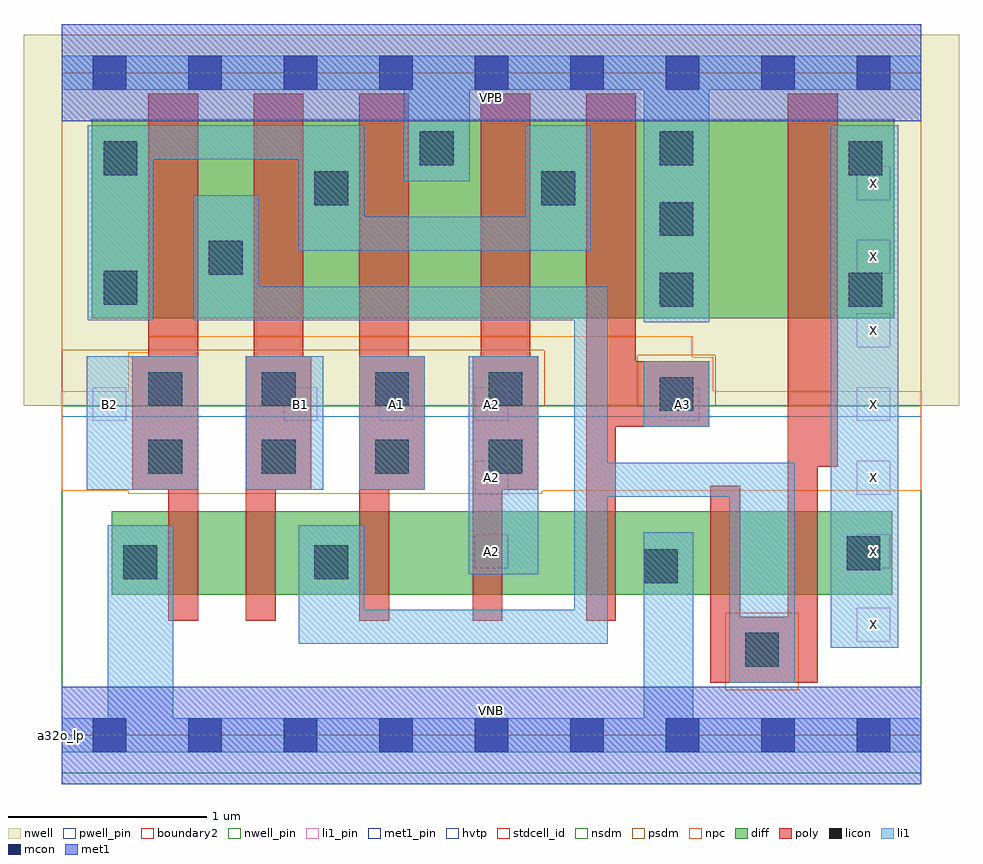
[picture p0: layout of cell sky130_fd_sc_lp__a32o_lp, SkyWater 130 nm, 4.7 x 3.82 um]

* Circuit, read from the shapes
.subckt sky130_fd_sc_lp__a32o_lp A1 A2 A3 B1 B2 VGND VNB VPB VPWR X
XM1 n1 B2 VGND VNB sky130_fd_pr__nfet_01v8 w=0.42 l=0.15
XM2 n2 B1 n1 VNB sky130_fd_pr__nfet_01v8 w=0.42 l=0.15
XM3 n3 A1 n2 VNB sky130_fd_pr__nfet_01v8 w=0.42 l=0.15
XM4 n4 A2 n3 VNB sky130_fd_pr__nfet_01v8 w=0.42 l=0.15
XM5 VGND A3 n4 VNB sky130_fd_pr__nfet_01v8 w=0.42 l=0.15
XM6 n5 n2 VGND VNB sky130_fd_pr__nfet_01v8 w=0.42 l=0.15
XM7 X n2 n5 VNB sky130_fd_pr__nfet_01v8 w=0.42 l=0.15
XM8 n2 B2 n6 VPB sky130_fd_pr__pfet_01v8_hvt w=1 l=0.25
XM9 n6 B1 n2 VPB sky130_fd_pr__pfet_01v8_hvt w=1 l=0.25
XM10 VPWR A1 n6 VPB sky130_fd_pr__pfet_01v8_hvt w=1 l=0.25
XM11 n6 A2 VPWR VPB sky130_fd_pr__pfet_01v8_hvt w=1 l=0.25
XM12 VPWR A3 n6 VPB sky130_fd_pr__pfet_01v8_hvt w=1 l=0.25
XM13 X n2 VPWR VPB sky130_fd_pr__pfet_01v8_hvt w=1 l=0.25
.ends

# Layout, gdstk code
import gdstk
lib = gdstk.Library(unit=1e-6, precision=1e-09)
def R(c, l, rs):  # rectangles x0, y0, x1, y1
    for r in rs: c.add(gdstk.rectangle(r[:2], r[2:], *l))
def A(c, l, x, y, w, h, nx, ny, dx, dy):  # array of equal rectangles
    R(c, l, [(x+i*dx, y+j*dy, x+i*dx+w, y+j*dy+h) for i in range(nx) for j in range(ny)])
def P(c, l, *ps):  # polygons
    for p in ps: c.add(gdstk.Polygon(p, *l))
nwell_pin = (64, 16)
nwell = (64, 20)
diff = (65, 20)
poly = (66, 20)
licon = (66, 44)
li1_pin = (67, 16)
li1 = (67, 20)
mcon = (67, 44)
met1_pin = (68, 16)
met1 = (68, 20)
hvtp = (78, 44)
stdcell_id = (81, 4)
nsdm = (93, 44)
psdm = (94, 20)
npc = (95, 20)
pwell_pin = (122, 16)
boundary2 = (236, 0)

sky130_fd_sc_lp__a32o_lp = lib.new_cell('sky130_fd_sc_lp__a32o_lp')
R(sky130_fd_sc_lp__a32o_lp, nwell_pin, [(0,3.085,4.32,3.33)])
R(sky130_fd_sc_lp__a32o_lp, nwell, [(-0.19,1.655,4.51,3.52)])
R(sky130_fd_sc_lp__a32o_lp, diff, [(0.25,0.705,4.175,1.125), (0.15,2.095,4.185,3.095)])
P(sky130_fd_sc_lp__a32o_lp, poly, [(0.685,3.225),(0.435,3.225),(0.435,1.905),(0.355,1.905),(0.355,1.235),(0.535,1.235),(0.535,0.575),(0.685,0.575)],
  [(1.255,1.905),(1.215,1.905),(1.215,3.225),(0.965,3.225),(0.965,1.905),(0.925,1.905),(0.925,0.575),(1.075,0.575),(1.075,1.235),(1.255,1.235)],
  [(1.825,1.905),(1.745,1.905),(1.745,3.225),(1.495,3.225),(1.495,0.575),(1.645,0.575),(1.645,1.235),(1.825,1.235)],
  [(2.395,1.905),(2.355,1.905),(2.355,3.225),(2.105,3.225),(2.105,1.905),(2.065,1.905),(2.065,0.575),(2.215,0.575),(2.215,1.235),(2.395,1.235)],
  [(3.255,1.88),(2.885,1.88),(2.885,3.225),(2.635,3.225),(2.635,0.575),(2.785,0.575),(2.785,1.55),(3.255,1.55)],
  [(3.9,3.225),(3.65,3.225),(3.65,0.595),(3.41,0.595),(3.41,1.255),(3.26,1.255),(3.26,0.265),(3.8,0.265),(3.8,1.35),(3.9,1.35)])
A(sky130_fd_sc_lp__a32o_lp, licon, 0.435, 1.315, 0.17, 0.17, 4, 2, 0.57, 0.34)
A(sky130_fd_sc_lp__a32o_lp, licon, 3.005, 2.155, 0.17, 0.17, 1, 3, 0, 0.355)
R(sky130_fd_sc_lp__a32o_lp, licon, [(3.435,0.345,3.605,0.515), (2.925,0.765,3.095,0.935), (0.31,0.785,0.48,0.955), (1.27,0.785,1.44,0.955), (3.945,0.83,4.115,1), (3.005,1.63,3.175,1.8), (3.955,2.155,4.125,2.325), (0.21,2.165,0.38,2.335), (0.74,2.315,0.91,2.485), (1.27,2.665,1.44,2.835), (2.41,2.665,2.58,2.835), (0.21,2.815,0.38,2.985), (3.955,2.815,4.125,2.985), (1.8,2.865,1.97,3.035)])
A(sky130_fd_sc_lp__a32o_lp, li1_pin, 3.995, 0.47, 0.17, 0.17, 1, 7, 0, 0.37)
A(sky130_fd_sc_lp__a32o_lp, li1_pin, 1.115, 1.58, 0.17, 0.17, 3, 1, 0.48, 0)
R(sky130_fd_sc_lp__a32o_lp, li1_pin, [(2.075,0.84,2.245,1.01), (2.075,1.21,2.245,1.38), (0.155,1.58,0.325,1.75), (3.035,1.58,3.205,1.75)])
R(sky130_fd_sc_lp__a32o_lp, li1, [(3.865,0.44,4.205,3.065), (2.045,0.81,2.395,1.905), (0.125,1.235,0.685,1.905), (0.925,1.235,1.315,1.905), (1.495,1.235,1.825,1.905), (2.925,1.55,3.255,1.88)])
P(sky130_fd_sc_lp__a32o_lp, li1, [(2.925,2.075),(2.925,3.245),(2.05,3.245),(2.05,2.785),(1.72,2.785),(1.72,3.245),(0,3.245),(0,3.415),(4.32,3.415),(4.32,3.245),(3.255,3.245),(3.255,2.075)],
  [(0.23,0.085),(0.23,1.055),(0.56,1.055),(0.56,0.085),(2.925,0.085),(2.925,1.02),(3.175,1.02),(3.175,0.085),(4.32,0.085),(4.32,-0.085),(0,-0.085),(0,0.085)],
  [(2.575,0.63),(2.575,2.085),(0.66,2.085),(0.66,2.715),(0.99,2.715),(0.99,2.255),(2.745,2.255),(2.745,1.37),(3.685,1.37),(3.685,0.265),(3.355,0.265),(3.355,1.2),(2.745,1.2),(2.745,0.46),(1.19,0.46),(1.19,1.055),(1.52,1.055),(1.52,0.63)],
  [(2.33,2.605),(2.33,3.065),(2.66,3.065),(2.66,2.435),(1.19,2.435),(1.19,2.895),(0.46,2.895),(0.46,2.085),(0.13,2.085),(0.13,3.065),(1.52,3.065),(1.52,2.605)])
A(sky130_fd_sc_lp__a32o_lp, mcon, 0.155, -0.085, 0.17, 0.17, 9, 2, 0.48, 3.33)
R(sky130_fd_sc_lp__a32o_lp, met1_pin, [(0,0,4.32,0.245), (0,3.085,4.32,3.33)])
R(sky130_fd_sc_lp__a32o_lp, met1, [(0,-0.245,4.32,0.245), (0,3.085,4.32,3.575)])
R(sky130_fd_sc_lp__a32o_lp, hvtp, [(0,1.6,4.32,3.33)])
R(sky130_fd_sc_lp__a32o_lp, stdcell_id, [(0,0,4.32,3.33)])
R(sky130_fd_sc_lp__a32o_lp, nsdm, [(0,-0.19,4.32,1.655)])
P(sky130_fd_sc_lp__a32o_lp, psdm, [(4.32,3.52),(0,3.52),(0,1.935),(2.425,1.935),(2.425,1.655),(2.895,1.655),(2.895,1.91),(3.285,1.91),(3.285,1.655),(4.32,1.655)])
R(sky130_fd_sc_lp__a32o_lp, npc, [(3.335,0.225,3.705,0.615)])
P(sky130_fd_sc_lp__a32o_lp, npc, [(4.32,1.73),(3.275,1.73),(3.275,1.9),(3.17,1.9),(3.17,2.005),(0.44,2.005),(0.44,1.925),(0.335,1.925),(0.335,1.73),(0,1.73),(0,1.23),(0.335,1.23),(0.335,1.215),(2.415,1.215),(2.415,1.23),(4.32,1.23)])
R(sky130_fd_sc_lp__a32o_lp, pwell_pin, [(0,0,4.32,0.245)])
R(sky130_fd_sc_lp__a32o_lp, boundary2, [(0,0,4.32,3.33)])
sky130_fd_sc_lp__a32o_lp.add(gdstk.Label('VNB', (2.16,0.123), layer=64, texttype=59))
sky130_fd_sc_lp__a32o_lp.add(gdstk.Label('VPB', (2.16,3.208), layer=64, texttype=5))
sky130_fd_sc_lp__a32o_lp.add(gdstk.Label('a32o_lp', (0,0), layer=83, texttype=44))
sky130_fd_sc_lp__a32o_lp.add(gdstk.Label('VPWR', (2.16,3.208), layer=68, texttype=5))
sky130_fd_sc_lp__a32o_lp.add(gdstk.Label('VGND', (2.16,0.123), layer=68, texttype=5))
sky130_fd_sc_lp__a32o_lp.add(gdstk.Label('B2', (0.24,1.665), layer=67, texttype=5))
sky130_fd_sc_lp__a32o_lp.add(gdstk.Label('B1', (1.2,1.665), layer=67, texttype=5))
sky130_fd_sc_lp__a32o_lp.add(gdstk.Label('A3', (3.12,1.665), layer=67, texttype=5))
sky130_fd_sc_lp__a32o_lp.add(gdstk.Label('A2', (2.16,0.925), layer=67, texttype=5))
sky130_fd_sc_lp__a32o_lp.add(gdstk.Label('A2', (2.16,1.295), layer=67, texttype=5))
sky130_fd_sc_lp__a32o_lp.add(gdstk.Label('A2', (2.16,1.665), layer=67, texttype=5))
sky130_fd_sc_lp__a32o_lp.add(gdstk.Label('A1', (1.68,1.665), layer=67, texttype=5))
sky130_fd_sc_lp__a32o_lp.add(gdstk.Label('X', (4.08,0.555), layer=67, texttype=5))
sky130_fd_sc_lp__a32o_lp.add(gdstk.Label('X', (4.08,0.925), layer=67, texttype=5))
sky130_fd_sc_lp__a32o_lp.add(gdstk.Label('X', (4.08,1.295), layer=67, texttype=5))
sky130_fd_sc_lp__a32o_lp.add(gdstk.Label('X', (4.08,1.665), layer=67, texttype=5))
sky130_fd_sc_lp__a32o_lp.add(gdstk.Label('X', (4.08,2.035), layer=67, texttype=5))
sky130_fd_sc_lp__a32o_lp.add(gdstk.Label('X', (4.08,2.405), layer=67, texttype=5))
sky130_fd_sc_lp__a32o_lp.add(gdstk.Label('X', (4.08,2.775), layer=67, texttype=5))

lib.write_gds('sky130_fd_sc_lp__a32o_lp.gds')
